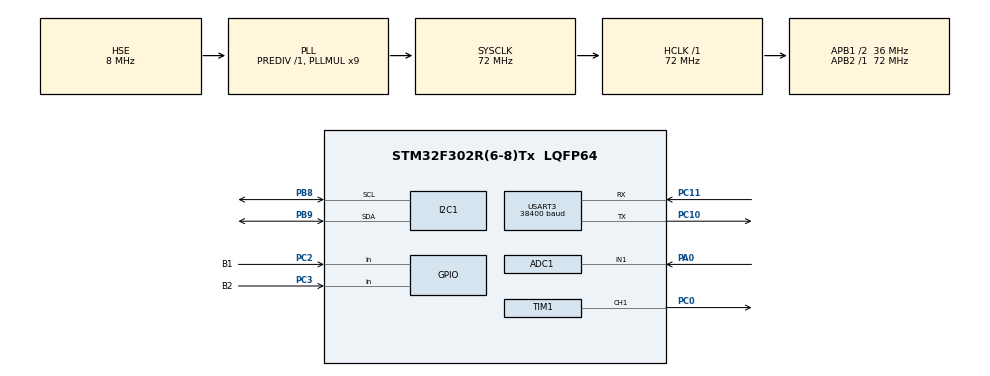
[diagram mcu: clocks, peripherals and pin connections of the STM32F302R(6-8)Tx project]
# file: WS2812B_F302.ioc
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ADC1.Channel-1\#ChannelRegularConversion=ADC_CHANNEL_1
ADC1.ClockPrescaler=ADC_CLOCK_ASYNC_DIV1
ADC1.NbrOfConversion=1
ADC1.NbrOfConversionFlag=1
ADC1.Offset-1\#ChannelRegularConversion=0
ADC1.OffsetNumber-1\#ChannelRegularConversion=ADC_OFFSET_NONE
ADC1.Rank-1\#ChannelRegularConversion=1
ADC1.Resolution=ADC_RESOLUTION_8B
ADC1.SamplingTime-1\#ChannelRegularConversion=ADC_SAMPLETIME_1CYCLE_5
ADC1.SubFamily=STM32F302x8
ADC1.master=1
Dma.Request0=TIM1_CH1
Dma.TIM1_CH1.0.Direction=DMA_MEMORY_TO_PERIPH
Dma.TIM1_CH1.0.Instance=DMA1_Channel2
Dma.TIM1_CH1.0.MemDataAlignment=DMA_MDATAALIGN_HALFWORD
Dma.TIM1_CH1.0.MemInc=DMA_MINC_ENABLE
Dma.TIM1_CH1.0.Mode=DMA_NORMAL
Dma.TIM1_CH1.0.PeriphDataAlignment=DMA_PDATAALIGN_HALFWORD
Dma.TIM1_CH1.0.PeriphInc=DMA_PINC_DISABLE
Dma.TIM1_CH1.0.Priority=DMA_PRIORITY_LOW
Mcu.Family=STM32F3
Mcu.Name=STM32F302R(6-8)Tx
Mcu.Package=LQFP64
NVIC.ADC1_IRQn=true\:0\:0\:false\:true\:true\:2\:true\:true\:true
NVIC.DMA1_Channel2_IRQn=true\:0\:0\:false\:false\:true\:false\:true\:true
NVIC.PriorityGroup=NVIC_PRIORITYGROUP_4
NVIC.USART3_IRQn=true\:0\:0\:true\:true\:true\:1\:true\:true\:true
PA0.Mode=IN1-Single-Ended
PA0.Signal=ADC1_IN1
PA13.Mode=Serial_Wire
PA13.Signal=SYS_JTMS-SWDIO
PA14.Mode=Serial_Wire
PA14.Signal=SYS_JTCK-SWCLK
PB8.Mode=I2C
PB8.Signal=I2C1_SCL
PB9.Mode=I2C
PB9.Signal=I2C1_SDA
PC0.Signal=S_TIM1_CH1
PC10.Mode=Asynchronous
PC10.Signal=USART3_TX
PC11.Mode=Asynchronous
PC11.Signal=USART3_RX
PC14\ -\ OSC32_IN.Mode=LSE-External-Oscillator
PC14\ -\ OSC32_IN.Signal=RCC_OSC32_IN
PC15\ -\ OSC32_OUT.Mode=LSE-External-Oscillator
PC15\ -\ OSC32_OUT.Signal=RCC_OSC32_OUT
PC2.GPIO_Label=B1
PC2.Signal=GPIO_Input
PC3.GPIO_Label=B2
PC3.Signal=GPIO_Input
PF0-OSC_IN.Mode=HSE-External-Oscillator
PF0-OSC_IN.Signal=RCC_OSC_IN
PF1-OSC_OUT.Mode=HSE-External-Oscillator
PF1-OSC_OUT.Signal=RCC_OSC_OUT
ProjectManager.HeapSize=0x200
ProjectManager.StackSize=0x400
ProjectManager.TargetToolchain=STM32CubeIDE
RCC.AHBFreq_Value=72000000
RCC.APB1CLKDivider=RCC_HCLK_DIV2
RCC.APB1Freq_Value=36000000
RCC.APB1TimFreq_Value=72000000
RCC.APB2Freq_Value=72000000
RCC.APB2TimFreq_Value=72000000
RCC.CortexFreq_Value=72000000
RCC.HCLKFreq_Value=72000000
RCC.HSE_VALUE=8000000
RCC.HSI_VALUE=8000000
RCC.LSE_Timout=5000
RCC.PLLMUL=RCC_PLL_MUL9
RCC.PLLSourceVirtual=RCC_PLLSOURCE_HSE
RCC.SYSCLKFreq_VALUE=72000000
RCC.SYSCLKSourceVirtual=RCC_SYSCLKSOURCE_PLLCLK
RCC.USBFreq_Value=72000000
RTC.Hours=12
RTC.Minutes=30
RTC.Year=23
SH.S_TIM1_CH1.0=TIM1_CH1,PWM Generation1 CH1
TIM1.AutoReloadPreload=TIM_AUTORELOAD_PRELOAD_ENABLE
TIM1.Channel-PWM\ Generation1\ CH1=TIM_CHANNEL_1
TIM1.Period=71
TIM1.Prescaler=0
USART3.BaudRate=38400
USART3.VirtualMode-Asynchronous=VM_ASYNC
VP_RTC_VS_RTC_Activate.Mode=RTC_Enabled
VP_RTC_VS_RTC_Calendar.Mode=RTC_Calendar
VP_TIM1_VS_ClockSourceINT.Mode=Internal
board=custom

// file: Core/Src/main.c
/* USER CODE BEGIN Header */
/**
  ******************************************************************************
  * @file           : main.c
  * @brief          : Main program body
  ******************************************************************************
  * @attention
  *
  * Copyright (c) 2023 STMicroelectronics.
  * All rights reserved.
  *
  * This software is licensed under terms that can be found in the LICENSE file
  * in the root directory of this software component.
  * If no LICENSE file comes with this software, it is provided AS-IS.
  *
  ******************************************************************************
  */
/* USER CODE END Header */
#include "main.h"
#include "adc.h"
#include "dma.h"
#include "i2c.h"
#include "rtc.h"
#include "tim.h"
#include "usart.h"
#include "gpio.h"

/* USER CODE BEGIN Includes */
#include "WS2812B.h"
#include "stdio.h"
#include "string.h"
#include "ring_buffer.h"
#include "parser.h"
#include "bme280.h"
#include <stdlib.h>
#include "key.h"
#include <stdlib.h>
/* USER CODE END Includes */

/* USER CODE BEGIN PV */

/*------ STRUCTURES ------*/
// RTC Struct
RTC_DateTypeDef RtcDate;
RTC_TimeTypeDef RtcTime;

// WS2812B Struct
SegmentHSV_t HSV_Array = {.menu_state=STATE_NORMAL, .select_field=MINUTE_FIELD};

// BME280 Struct
BME280_HandleTypedef hBME280;

// Buttons Struct
Key_t Button1;
Key_t Button2;

/*------ UART ------*/
Ring_buffer_t UART_ReceiveBuffer;
uint8_t UART_Buffer[32];
uint8_t UART_ReceiveTmp;
uint8_t UART_ReceivedLine;
uint8_t UART_ReceiveDestination[32];

/*------ BME280 ------*/
int32_t BME280_Temperature;
uint16_t BME280_Size;
uint8_t BME280_Data[256];
float BME280_Temp, BME280_Pressure, BME280_Humidity;

/*------ ADC ------*/
volatile uint16_t ADCvalue;

/*------ WS2812B ------*/
uint8_t Clear_Flag;
uint8_t registered;
/* USER CODE END PV */

void SystemClock_Config(void);
static void MX_NVIC_Init(void);
/* USER CODE BEGIN PFP */

// Buttons functions
void Menu(void);
void Menu_BrightnessUp(SegmentHSV_t *sHSV);
void Menu_BrightnessDown(SegmentHSV_t *sHSV);
void Menu_EnterField(SegmentHSV_t *sHSV);
void Menu_SelectField(SegmentHSV_t *sHSV);
void Menu_Enter(SegmentHSV_t *sHSV);
void Menu_Exit(SegmentHSV_t *sHSV);
void Menu_ChangeHour(SegmentHSV_t *sHSV);
void Menu_ChangeMinute(SegmentHSV_t *sHSV);

// WS2812B functions
void MATRIX_LED_EVENT(void);
void MATRIX_LED_BRIGHTNESS(void);
void MATRIX_LED_SET_TIME(void);
void MATRIX_LED_SET_TEMP(void);
void MATRIX_LED_PARSE_UART(void);
/* USER CODE END PFP */

int main(void)
{

  /* MCU Configuration--------------------------------------------------------*/

  /* Reset of all peripherals, Initializes the Flash interface and the Systick. */
  HAL_Init();

  /* USER CODE BEGIN Init */
//  __HAL_RCC_BACKUPRESET_FORCE();
//  __HAL_RCC_BACKUPRESET_RELEASE();
  /* USER CODE END Init */

  /* Configure the system clock */
  SystemClock_Config();

  /* Initialize all configured peripherals */
  MX_GPIO_Init();
  MX_DMA_Init();
  MX_RTC_Init();
  MX_USART3_UART_Init();
  MX_ADC1_Init();
  MX_I2C1_Init();
  MX_TIM1_Init();

  /* Initialize interrupts */
  MX_NVIC_Init();
  /* USER CODE BEGIN 2 */

  // BME280 Initialization
  BME280_Init(&hBME280, &hi2c1, BME280_I2C_ADDRESS_0);
  HAL_Delay(10);

  // Buttons Initialization
//  Key_Init(&Button1, B1_GPIO_Port, B1_Pin, 20, 2000, 200);
//  Key_Init(&Button2, B2_GPIO_Port, B2_Pin, 20, 2000, 200);

  // WS2812B Initialization
  WS2812B_ChangeHourHue(&HSV_Array, 50);
  WS2812B_ChangeMinuteHue(&HSV_Array, 100);
  WS2812B_ChangeColonHue(&HSV_Array, 150);
  WS2812B_ChangeStripHue(&HSV_Array, 290);
  WS2812B_ChangeBrightness(&HSV_Array, 200, 30);
  WS2812B_ChangeTempHue(&HSV_Array, 200);
  HSV_Array.last_tick = HAL_GetTick();

  // UART Initialization
  HAL_UART_Receive_IT(&huart3, &UART_ReceiveTmp, 1);

  /* USER CODE END 2 */

  /* Infinite loop */
  /* USER CODE BEGIN WHILE */
  while (1)
  {
	  MATRIX_LED_EVENT();
	  // Main function
//	  Menu();

    /* USER CODE END WHILE */

  }
}

void SystemClock_Config(void)
{
  RCC_OscInitTypeDef RCC_OscInitStruct = {0};
  RCC_ClkInitTypeDef RCC_ClkInitStruct = {0};
  RCC_PeriphCLKInitTypeDef PeriphClkInit = {0};

  /** Initializes the RCC Oscillators according to the specified parameters
  * in the RCC_OscInitTypeDef structure.
  */
  RCC_OscInitStruct.OscillatorType = RCC_OSCILLATORTYPE_HSI|RCC_OSCILLATORTYPE_LSI
                              |RCC_OSCILLATORTYPE_HSE;
  RCC_OscInitStruct.HSEState = RCC_HSE_ON;
  RCC_OscInitStruct.HSEPredivValue = RCC_HSE_PREDIV_DIV1;
  RCC_OscInitStruct.HSIState = RCC_HSI_ON;
  RCC_OscInitStruct.HSICalibrationValue = RCC_HSICALIBRATION_DEFAULT;
  RCC_OscInitStruct.LSIState = RCC_LSI_ON;
  RCC_OscInitStruct.PLL.PLLState = RCC_PLL_ON;
  RCC_OscInitStruct.PLL.PLLSource = RCC_PLLSOURCE_HSE;
  RCC_OscInitStruct.PLL.PLLMUL = RCC_PLL_MUL9;
  if (HAL_RCC_OscConfig(&RCC_OscInitStruct) != HAL_OK)
  {
    Error_Handler();
  }

  /** Initializes the CPU, AHB and APB buses clocks
  */
  RCC_ClkInitStruct.ClockType = RCC_CLOCKTYPE_HCLK|RCC_CLOCKTYPE_SYSCLK
                              |RCC_CLOCKTYPE_PCLK1|RCC_CLOCKTYPE_PCLK2;
  RCC_ClkInitStruct.SYSCLKSource = RCC_SYSCLKSOURCE_PLLCLK;
  RCC_ClkInitStruct.AHBCLKDivider = RCC_SYSCLK_DIV1;
  RCC_ClkInitStruct.APB1CLKDivider = RCC_HCLK_DIV2;
  RCC_ClkInitStruct.APB2CLKDivider = RCC_HCLK_DIV1;

  if (HAL_RCC_ClockConfig(&RCC_ClkInitStruct, FLASH_LATENCY_2) != HAL_OK)
  {
    Error_Handler();
  }
  PeriphClkInit.PeriphClockSelection = RCC_PERIPHCLK_I2C1|RCC_PERIPHCLK_RTC
                              |RCC_PERIPHCLK_TIM1|RCC_PERIPHCLK_ADC1;
  PeriphClkInit.I2c1ClockSelection = RCC_I2C1CLKSOURCE_HSI;
  PeriphClkInit.RTCClockSelection = RCC_RTCCLKSOURCE_LSI;
  PeriphClkInit.Tim1ClockSelection = RCC_TIM1CLK_HCLK;
  PeriphClkInit.Adc1ClockSelection = RCC_ADC1PLLCLK_DIV1;

  if (HAL_RCCEx_PeriphCLKConfig(&PeriphClkInit) != HAL_OK)
  {
    Error_Handler();
  }
}

/**
  * @brief NVIC Configuration.
  * @retval None
  */
static void MX_NVIC_Init(void)
{
  /* USART3_IRQn interrupt configuration */
  HAL_NVIC_SetPriority(USART3_IRQn, 0, 0);
  HAL_NVIC_EnableIRQ(USART3_IRQn);
  /* ADC1_IRQn interrupt configuration */
  HAL_NVIC_SetPriority(ADC1_IRQn, 0, 0);
  HAL_NVIC_EnableIRQ(ADC1_IRQn);
}

/* USER CODE BEGIN 4 */
/*--------------------- Menu Functions ---------------------*/
void Menu(void)
{
	// Buttons
	Key_Routine(&Button1, &HSV_Array);
	Key_Routine(&Button2, &HSV_Array);

	switch(HSV_Array.menu_state)
	{

	case STATE_NORMAL:
		MATRIX_LED_EVENT();
		if(!registered)
		{
			Key_RegisterLongPressCallback(&Button1, Menu_Enter);		// Enter STATE_SELECT
			Key_RegisterRepeatCallback(&Button1, Menu_BrightnessUp);	// Manual increase brightness
			Key_RegisterRepeatCallback(&Button2,Menu_BrightnessDown);	// Manual decrease brightness
			registered = 1;
		}
		if(Button1.Status == KEY_LONGPRESS && Button2.Status == KEY_LONGPRESS) BrightnessFlag = AUTO; // Set brightness to auto
		break;

	case STATE_SELECT:
		if(HSV_Array.select_field == MINUTE_FIELD)
		{
			WS2812B_BlinkFieldMinute(&HSV_Array, &RtcTime);		// Blink minute field every 500ms
		}
		else
		{
			WS2812B_BlinkFieldHour(&HSV_Array, &RtcTime);		// Blink hour field every 500ms
		}
		if(registered)
		{
			Key_RegisterSinglePressCallback(&Button1, Menu_EnterField);		// Enter blinking field
			Key_RegisterLongPressCallback(&Button1, Menu_Exit);				// Return to STATE_NORMAL
			Key_RegisterSinglePressCallback(&Button2, Menu_SelectField);	// Select field to edit
			registered = 0;
		}

		break;

	case STATE_EDIT_HOUR:
		if(!registered)
		{
			Key_RegisterSinglePressCallback(&Button1, Menu_Exit);		// Return to STATE_SELECT
			Key_RegisterSinglePressCallback(&Button2, Menu_ChangeHour);		// Change hour
			Key_RegisterRepeatCallback(&Button2, Menu_ChangeHour);			// Change hour
			registered = 1;
		}

		break;

	case STATE_EDIT_MINUTE:
		if(!registered)
		{
			Key_RegisterSinglePressCallback(&Button1, Menu_Exit);		// Return to STATE_SELECT
			Key_RegisterSinglePressCallback(&Button2, Menu_ChangeMinute);	// Change minute
			Key_RegisterRepeatCallback(&Button2, Menu_ChangeMinute);		// Change minute
			registered = 1;
		}

		break;

	default:
		break;
	}
}

void Menu_BrightnessUp(SegmentHSV_t *sHSV)
{
	BrightnessFlag = MANUAL;
	sHSV->brightness++;
}

void Menu_BrightnessDown(SegmentHSV_t *sHSV)
{
	BrightnessFlag = MANUAL;
	sHSV->brightness--;
}

void Menu_EnterField(SegmentHSV_t *sHSV)
{
	if(sHSV->select_field == MINUTE_FIELD) sHSV->menu_state = STATE_EDIT_MINUTE;
	else sHSV->menu_state = STATE_EDIT_HOUR;

}

void Menu_SelectField(SegmentHSV_t *sHSV)
{
	sHSV->select_field = ((sHSV->select_field + 1) % 2); // Change between HOUR_FIELD and MINUTE_FIELD
}

void Menu_Enter(SegmentHSV_t *sHSV)
{
	sHSV->menu_state++;
}

void Menu_Exit(SegmentHSV_t *sHSV)
{
	sHSV->menu_state--;
}

void Menu_ChangeHour(SegmentHSV_t *sHSV)
{
	RtcTime.Hours = ((RtcTime.Hours + 1) % 24);
	HAL_RTC_SetTime(&hrtc, &RtcTime, RTC_FORMAT_BIN);
	WS2812B_SetHour(&HSV_Array, RtcTime.Hours);
	WS2812B_Send();
}

void Menu_ChangeMinute(SegmentHSV_t *sHSV)
{
	RtcTime.Minutes = ((RtcTime.Minutes + 1) % 60);
	HAL_RTC_SetTime(&hrtc, &RtcTime, RTC_FORMAT_BIN);
	WS2812B_SetMinute(&HSV_Array, RtcTime.Minutes);
	WS2812B_Send();
}

/*--------------------- Matrix Events ---------------------*/
void MATRIX_LED_EVENT(void)
{
	//  pobieranie aktualnego czasu
	HAL_RTC_GetDate(&hrtc, &RtcDate, RTC_FORMAT_BIN);
	HAL_RTC_GetTime(&hrtc, &RtcTime, RTC_FORMAT_BIN);

	// Auto brightness
//	if(HAL_GetTick() - ADC_Delay_ms > 500)
	MATRIX_LED_BRIGHTNESS();

	// Display time
	MATRIX_LED_SET_TIME();

	// Clear display
	if(Clear_Flag) WS2812B_ClearDisplay();

	// Display temperature
	MATRIX_LED_SET_TEMP();

	// Parse data on UART
	MATRIX_LED_PARSE_UART();
}

void MATRIX_LED_BRIGHTNESS(void)
{

	if(BrightnessFlag == AUTO)
	{
		HAL_ADC_Start_IT(&hadc1);
	}
	else
	{
		HAL_ADC_Stop_IT(&hadc1);
	}

	WS2812B_ChangeBrightness(&HSV_Array, HSV_Array.saturation, abs((int8_t)(gamma_lut[ADCvalue] - HSV_Array.brightness)) > 20 ? gamma_lut[ADCvalue] : HSV_Array.brightness);
	WS2812B_DrawStrip(&HSV_Array, &RtcTime);
}

void MATRIX_LED_SET_TIME(void)
{
	if(RtcTime.Seconds < 30 || RtcTime.Seconds > 40)
	{
		WS2812B_SetTime(&HSV_Array, &RtcTime);
		Clear_Flag = 1;
	}
}

void MATRIX_LED_SET_TEMP(void)
{
	if(RtcTime.Seconds >= 30 && RtcTime.Seconds <= 40)
	{
		BME280_Read_Temp(&hBME280, &BME280_Temperature);
		WS2812B_SetTemperature(&HSV_Array, BME280_Temperature);
		Clear_Flag = 0;
	}
}

void MATRIX_LED_PARSE_UART(void)
{
	if(UART_ReceivedLine > 0)
	{
		Parse(&UART_ReceiveBuffer, UART_ReceiveDestination);

		UART_ReceivedLine--;

		ParseData(UART_ReceiveDestination);
	}
}

/*--------------------- UART Callbacks ---------------------*/
// They are being used in parser.c as a __weak function replacement
void HC_TIME_Callback(char * time)
{
	int16_t tmp;
	tmp = atoi(time);
	RtcTime.Hours = (tmp/100);
	RtcTime.Minutes = (tmp%100);
	RtcTime.Seconds = 0;
	HAL_RTC_SetTime(&hrtc, &RtcTime, RTC_FORMAT_BIN);
}

void HC_COLOR_Callback(char * color)
{
	int16_t tmp;
	tmp = atoi(color);

	switch(ColorFlag)
	{
	case COLOR_HOUR:
		HSV_Array.hour_hue = tmp;
		break;

	case COLOR_COLON:
		HSV_Array.colon_hue = tmp;
		break;

	case COLOR_MINUTE:
		HSV_Array.minute_hue = tmp;
		break;

	default:
		break;
	}
}

void HC_COLORT_Callback(char * color)
{
	int16_t tmp;
	tmp = atoi(color);

	switch(ColorTFlag)
	{
	case COLOR_TEMPERATURE:
		HSV_Array.temp_hue = tmp;
		break;

	case COLOR_DEGREE_SYMBOL:
		HSV_Array.degree_symbol_hue = tmp;
		break;

	case COLOR_CELCIUS:
		HSV_Array.celcius_hue = tmp;
		break;

	default:
		break;
	}
}

void HC_COLORS_Callback(char * color)
{
	int16_t tmp;
	tmp = atoi(color);
	WS2812B_ChangeStripHue(&HSV_Array, tmp);
}

void HC_BRIGHT_Callback(char * brightness)
{
	int16_t tmp;
	tmp = atoi(brightness);

	switch(tmp)
	{
	case 1:
		HSV_Array.brightness = LOW_BRIGHTNESS; // Low brightness
		break;

	case 2:
		HSV_Array.brightness = MEDIUM_BRIGHTNESS; // Medium brightness
		break;

	case 3:
		HSV_Array.brightness = HIGH_BRIGHTNESS; // High brightness
		break;

	default:
		break;
	}

}

/*---------------------------------- Interrupts ----------------------------------*/

void HAL_TIM_PWM_PulseFinishedCallback(TIM_HandleTypeDef *htim)
{
	if(htim->Instance == TIM1)
	{
		HAL_TIM_PWM_Stop_DMA(&htim1, TIM_CHANNEL_1);
		DataSentFlag = 1;
	}
}

void HAL_UART_RxCpltCallback(UART_HandleTypeDef *huart)
{
    if(huart->Instance == USART3)
    {
    	if(RB_OK == Ring_Buf_Write(&UART_ReceiveBuffer, UART_ReceiveTmp))
    	{
    		if(UART_ReceiveTmp == ENDLINE)
    		{
    			UART_ReceivedLine++;
    		}
    	}
    	HAL_UART_Receive_IT(&huart3, &UART_ReceiveTmp, 1);
    }
}

void HAL_ADC_ConvCpltCallback(ADC_HandleTypeDef* hadc)
{
	if(hadc->Instance == ADC1)
	{

		ADCvalue = HAL_ADC_GetValue(hadc);
//		if(ADCvalue < 10) ADCvalue = 10;
//		else if(ADCvalue > 10 && ADCvalue < 110) ADCvalue = 60;
//		else if(ADCvalue > 110 && ADCvalue < 180) ADCvalue = 140;
//		else ADCvalue = 230;

		HAL_ADC_Start_IT(&hadc1);
	}
}

/* USER CODE END 4 */

void Error_Handler(void)
{
  __disable_irq();
  while (1)
  {
  }
}
